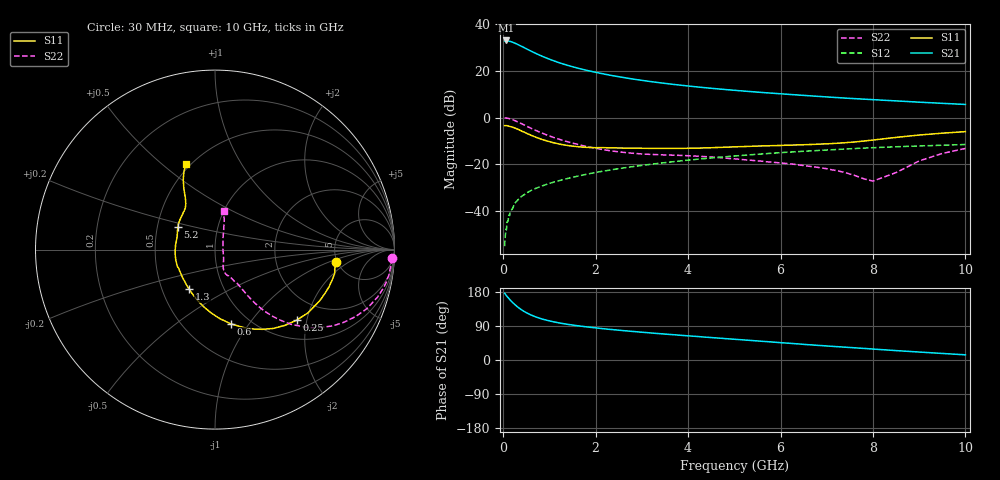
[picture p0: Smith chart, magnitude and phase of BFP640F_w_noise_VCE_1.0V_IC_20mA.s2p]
! Infineon Technologies  Discrete & RF Semiconductors
! BFP640F
! VCE =  1.0 V,  IC =  20 mA
! Common Emitter S-Parameters:  Apr 2013
# GHz  S  MA  R  50
!  f  S11  S21  S12  S22
! GHz  MAG  ANG  MAG  ANG  MAG  ANG  MAG  ANG
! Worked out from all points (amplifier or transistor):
!   99 points, 30 MHz to 10 GHz, reference 50 ohm
!   highest |S21| = 33.0 dB at 70 MHz (marker M1)
!   |S21| within 3 dB of that: start of sweep to 446.8 MHz
!   unconditionally stable (mu >= 1): 2.246 GHz to end of sweep
!   at 350 MHz: K = 0.36, MSG = 32.7 dB, |S12| = -34.4 dB
!   at 3.5 GHz: K = 1.05, MAG = 15.6 dB, |S12| = -19.2 dB
!   at 10 GHz: K = 1.05, MAG = 7.2 dB, |S12| = -11.4 dB
!   lowest NFmin = 0.82 dB at 450 MHz
!   S11 on the Smith chart (normalised r, x): 30 MHz: 4.87, -1.23; 250 MHz: 1.41, -1.74; 600 MHz: 0.82, -0.82; 1.3 GHz: 0.69, -0.33; 5.2 GHz: 0.64, +0.17; 10 GHz: 0.47, +0.60
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0.03  0.6769 -5.8  43.27 176.1  0.0018 68.8  0.9853 -2.7
0.05  0.6761 -9.5  44.47 173.2  0.0033 55.9  0.9844 -5.3
0.07  0.6772 -12.6  44.57 169.8  0.004 91.2  0.9805 -7.3
0.15  0.6474 -26.6  42.49 158.4  0.0098 76.3  0.9436 -16.3
0.2  0.6265 -34.2  40.89 152.1  0.0114 77.6  0.9084 -21.2
0.25  0.6011 -40.9  39.17 146.4  0.0148 75.8  0.8673 -25.5
0.3  0.5744 -47.3  37.22 141.2  0.0168 71.7  0.8234 -29.5
0.4  0.5171 -59.2  33.28 132.1  0.021 70.8  0.7385 -35.8
0.5  0.4654 -69.3  29.63 124.8  0.0245 68.1  0.6626 -40.7
0.6  0.4224 -78.1  26.44 118.9  0.0278 66.6  0.5938 -44.5
0.7  0.3845 -86.2  23.69 113.9  0.0308 65.9  0.5361 -47.2
0.9  0.3275 -100.3  19.42 106.2  0.0365 65.1  0.4437 -51.0
1.1  0.2895 -112.4  16.3 100.5  0.0422 64.9  0.3747 -53.2
1.3  0.2633 -123.1  13.99 96.0  0.0477 64.5  0.3243 -54.4
1.7  0.2361 -141.5  10.87 89.0  0.0587 64.0  0.2556 -55.6
2.4  0.2261 -164.5  7.787 79.8  0.0786 62.2  0.1915 -59.5
3.4  0.2211 173.3  5.55 69.4  0.1068 58.2  0.1611 -63.8
5.1  0.2398 149.8  3.773 53.9  0.1542 49.4  0.1296 -67.1
5.2  0.2415 148.7  3.706 53.0  0.157 48.8  0.1269 -66.7
6.7  0.2684 132.1  2.901 39.6  0.1962 39.8  0.0895 -59.7
8.5  0.379 117.2  2.28 24.8  0.2391 28.4  0.0671 49.1
10  0.5032 108.9  1.916 13.6  0.2677 19.6  0.2199 77.5
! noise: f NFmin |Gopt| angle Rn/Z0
0.45  0.82  0.01  19  0.06
0.9  0.82  0.01  55  0.06
1.5  0.85  0.01  87  0.07
1.9  0.87  0.02  120  0.07
2.4  0.9  0.03  140  0.08
3.5  0.98  0.05  171  0.09
5.5  1.16  0.18  -132  0.12
10  1.64  0.41  -89  0.39
